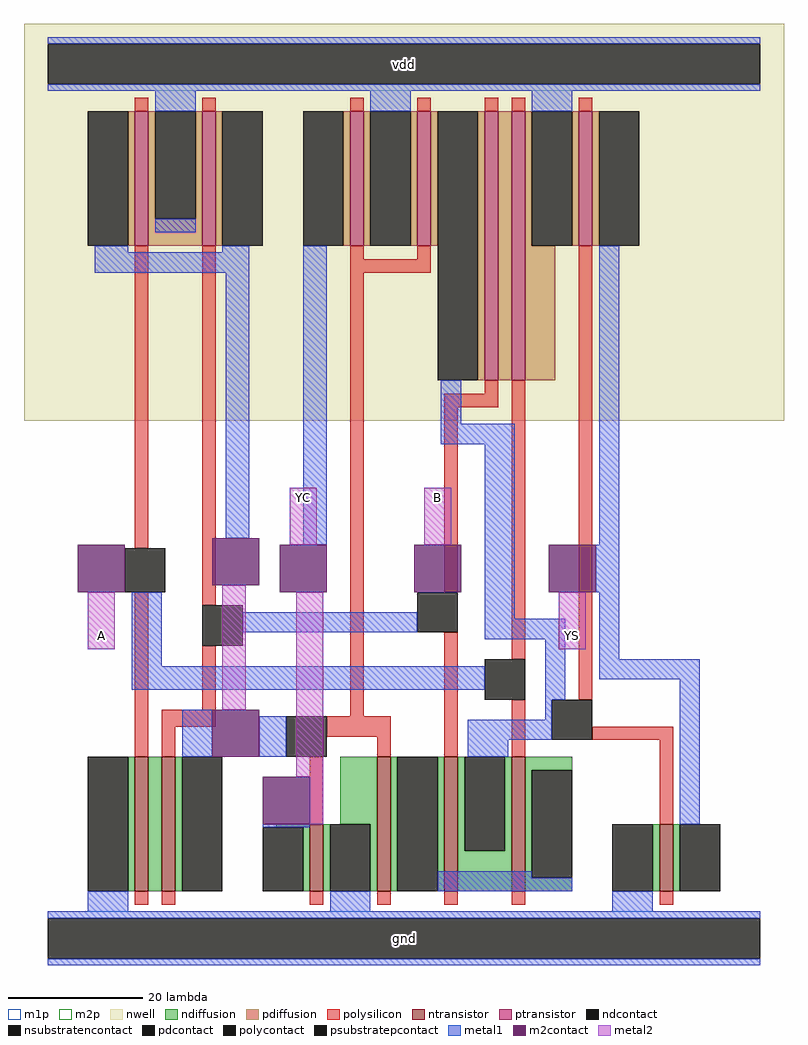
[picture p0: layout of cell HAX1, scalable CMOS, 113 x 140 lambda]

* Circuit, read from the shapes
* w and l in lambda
.subckt HAX1 A B YS YC vdd gnd
M1 n1 A gnd gnd nfet w=20 l=2
M2 n2 B n1 gnd nfet w=20 l=2
M3 gnd n2 YC gnd nfet w=10 l=2
M4 n3 n2 gnd gnd nfet w=20 l=2
M5 n4 B n3 gnd nfet w=20 l=2
M6 n3 A n4 gnd nfet w=20 l=2
M7 YS n4 gnd gnd nfet w=10 l=2
M8 vdd A n2 vdd pfet w=20 l=2
M9 n2 B vdd vdd pfet w=20 l=2
M10 vdd n2 YC vdd pfet w=20 l=2
M11 n4 n2 vdd vdd pfet w=20 l=2
M12 n5 B n4 vdd pfet w=40 l=2
M13 vdd A n5 vdd pfet w=40 l=2
M14 YS n4 vdd vdd pfet w=20 l=2
.ends

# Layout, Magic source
magic
tech scmos
magscale 1 2
<< nwell >>
rect -13 154 213 272
<< ntransistor >>
rect 20 14 24 54
rect 28 14 32 54
rect 72 14 76 34
rect 92 14 96 54
rect 112 14 116 54
rect 132 14 136 54
rect 176 14 180 34
<< ptransistor >>
rect 20 206 24 246
rect 40 206 44 246
rect 84 206 88 246
rect 104 206 108 246
rect 124 166 128 246
rect 132 166 136 246
rect 152 206 156 246
<< ndiffusion >>
rect 18 14 20 54
rect 24 14 28 54
rect 32 14 34 54
rect 81 34 92 54
rect 62 33 72 34
rect 70 14 72 33
rect 76 14 78 34
rect 90 14 92 34
rect 96 14 98 54
rect 110 14 112 54
rect 116 26 118 54
rect 130 26 132 54
rect 116 14 132 26
rect 136 50 150 54
rect 136 18 138 50
rect 136 14 150 18
rect 174 14 176 34
rect 180 14 182 34
<< pdiffusion >>
rect 18 206 20 246
rect 24 214 26 246
rect 38 214 40 246
rect 24 206 40 214
rect 44 206 46 246
rect 82 206 84 246
rect 88 206 90 246
rect 102 206 104 246
rect 108 206 110 246
rect 122 166 124 246
rect 128 166 132 246
rect 136 206 138 246
rect 150 206 152 246
rect 156 206 158 246
rect 136 166 145 206
<< ndcontact >>
rect 6 14 18 54
rect 34 14 46 54
rect 58 14 70 33
rect 78 14 90 34
rect 98 14 110 54
rect 118 26 130 54
rect 138 18 150 50
rect 162 14 174 34
rect 182 14 194 34
<< pdcontact >>
rect 6 206 18 246
rect 26 214 38 246
rect 46 206 58 246
rect 70 206 82 246
rect 90 206 102 246
rect 110 166 122 246
rect 138 206 150 246
rect 158 206 170 246
<< psubstratepcontact >>
rect -6 -6 206 6
<< nsubstratencontact >>
rect -6 254 206 266
<< polysilicon >>
rect 20 246 24 250
rect 40 246 44 250
rect 84 246 88 250
rect 104 246 108 250
rect 124 246 128 250
rect 132 246 136 250
rect 152 246 156 250
rect 20 116 24 206
rect 20 54 24 103
rect 40 99 44 206
rect 84 202 88 206
rect 104 202 108 206
rect 84 198 108 202
rect 40 68 44 87
rect 28 63 44 68
rect 84 66 88 198
rect 124 162 128 166
rect 112 158 128 162
rect 112 103 116 158
rect 28 54 32 63
rect 77 60 96 66
rect 92 54 96 60
rect 112 54 116 91
rect 132 83 136 166
rect 152 71 156 206
rect 132 54 136 71
rect 156 59 180 63
rect 72 34 76 54
rect 176 34 180 59
rect 20 10 24 14
rect 28 10 32 14
rect 72 10 76 14
rect 92 10 96 14
rect 112 10 116 14
rect 132 10 136 14
rect 176 10 180 14
<< polycontact >>
rect 17 103 29 116
rect 40 87 52 99
rect 104 91 116 103
rect 65 54 77 66
rect 124 71 136 83
rect 144 59 156 71
<< metal1 >>
rect -6 266 206 268
rect -6 252 206 254
rect 26 246 38 252
rect 90 246 102 252
rect 138 246 150 252
rect 26 210 38 214
rect 8 204 18 206
rect 46 204 54 206
rect 8 198 54 204
rect 47 119 54 198
rect 70 117 77 206
rect 111 153 117 166
rect 111 147 133 153
rect 19 81 28 103
rect 52 91 104 97
rect 124 95 133 147
rect 158 117 164 206
rect 157 103 164 117
rect 124 89 148 95
rect 19 74 124 81
rect 142 71 148 89
rect 158 83 164 103
rect 158 77 188 83
rect 34 54 43 68
rect 57 54 65 66
rect 142 65 144 71
rect 119 59 144 65
rect 119 54 131 59
rect 58 33 72 34
rect 110 18 138 20
rect 182 34 188 77
rect 110 14 150 18
rect 6 8 18 14
rect 78 8 90 14
rect 162 8 174 14
rect -6 6 206 8
rect -6 -8 206 -6
<< m2contact >>
rect 3 103 17 117
rect 43 105 57 119
rect 63 103 77 117
rect 103 103 117 117
rect 143 103 157 117
rect 43 54 57 68
rect 58 34 72 48
<< metal2 >>
rect 66 117 74 134
rect 106 117 114 134
rect 6 86 14 103
rect 46 68 53 105
rect 68 48 76 103
rect 146 86 154 103
rect 72 34 76 48
<< m1p >>
rect -6 252 206 268
rect -6 -8 206 8
<< m2p >>
rect 66 117 74 134
rect 106 117 114 134
rect 6 86 14 103
rect 146 86 154 103
<< labels >>
rlabel metal2 10 90 10 90 7 A
port 1 n signal input
rlabel metal2 110 131 110 131 3 B
port 2 n signal input
rlabel metal2 150 90 150 90 3 YS
port 3 n signal output
rlabel metal2 70 131 70 131 7 YC
port 4 n signal output
rlabel metal1 -6 252 206 268 0 vdd
port 5 nsew power bidirectional abutment
rlabel metal1 -6 -8 206 8 0 gnd
port 6 nsew ground bidirectional abutment
<< properties >>
string FIXED_BBOX 0 0 200 260
string LEFclass CORE
string LEFsite core
string LEFsymmetry X Y
<< end >>
